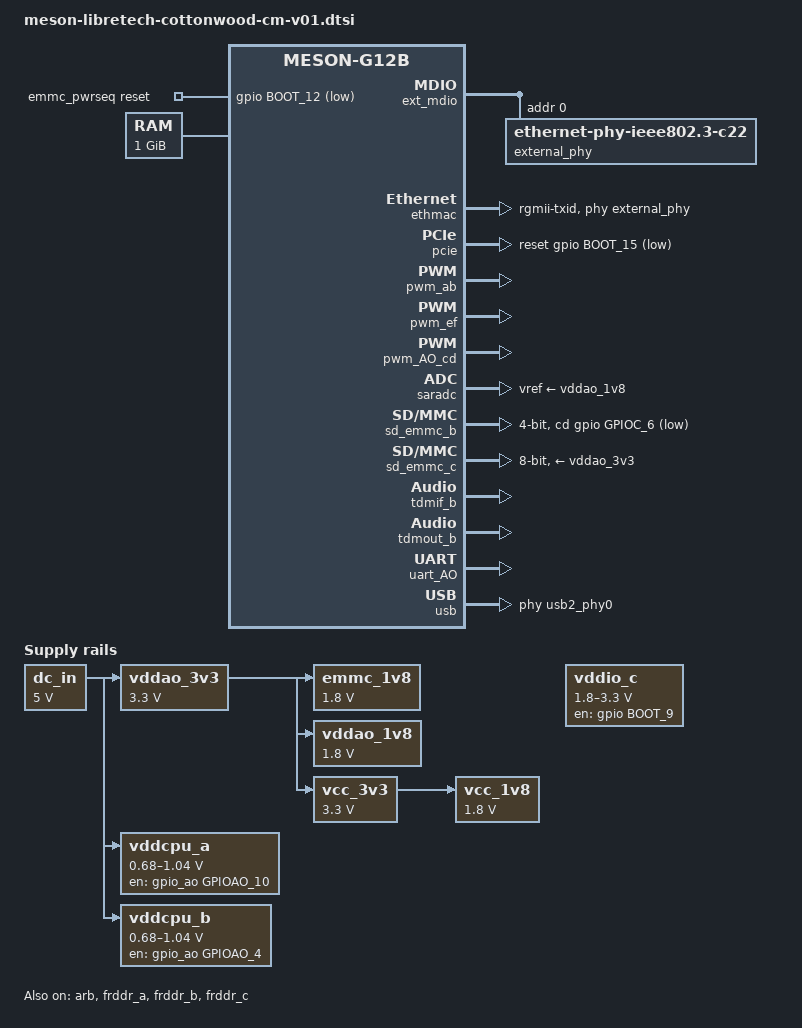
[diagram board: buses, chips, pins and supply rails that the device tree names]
// SPDX-License-Identifier: (GPL-2.0+ OR MIT)
/*
 * Copyright (c) 2023 Neil Armstrong <neil.armstrong@linaro.org>
 */

#include "meson-g12b-a311d.dtsi"
#include <dt-bindings/gpio/meson-g12a-gpio.h>

/ {
	aliases {
		serial0 = &uart_AO;
		rtc1 = &vrtc;
	};

	chosen {
		stdout-path = "serial0:115200n8";
	};

	emmc_pwrseq: emmc-pwrseq {
		compatible = "mmc-pwrseq-emmc";
		reset-gpios = <&gpio BOOT_12 GPIO_ACTIVE_LOW>;
	};

	memory@0 {
		device_type = "memory";
		reg = <0x0 0x0 0x0 0x40000000>;
	};

	emmc_1v8: regulator-emmc-1v8 {
		compatible = "regulator-fixed";
		regulator-name = "VDDIO_BOOT";
		regulator-min-microvolt = <1800000>;
		regulator-max-microvolt = <1800000>;
		vin-supply = <&vddao_3v3>;
		regulator-always-on;
	};

	dc_in: regulator-dc-in {
		compatible = "regulator-fixed";
		regulator-name = "DC_IN";
		regulator-min-microvolt = <5000000>;
		regulator-max-microvolt = <5000000>;
		regulator-always-on;
	};

	vddio_c: regulator-vddio-c {
		compatible = "regulator-gpio";
		regulator-name = "VDDIO_C";
		regulator-min-microvolt = <1800000>;
		regulator-max-microvolt = <3300000>;

		enable-gpios = <&gpio BOOT_9 GPIO_ACTIVE_HIGH>;
		enable-active-high;

		gpios = <&gpio BOOT_11 GPIO_ACTIVE_LOW>;
		gpios-states = <1>;

		states = <1800000 0>,
			 <3300000 1>;
	};

	vddao_1v8: regulator-vddao-1v8 {
		compatible = "regulator-fixed";
		regulator-name = "VDDAO_1V8";
		regulator-min-microvolt = <1800000>;
		regulator-max-microvolt = <1800000>;
		vin-supply = <&vddao_3v3>;
		regulator-always-on;
	};

	vddao_3v3: regulator-vddao-3v3 {
		compatible = "regulator-fixed";
		regulator-name = "VDDAO_3V3";
		regulator-min-microvolt = <3300000>;
		regulator-max-microvolt = <3300000>;
		vin-supply = <&dc_in>;
		regulator-always-on;
	};

	vcc_3v3: regulator-vcc-3v3 {
		compatible = "regulator-fixed";
		regulator-name = "VCC_3V3";
		regulator-min-microvolt = <3300000>;
		regulator-max-microvolt = <3300000>;
		vin-supply = <&vddao_3v3>;

		/* FIXME: controlled by TEST_N */
	};

	vcc_1v8: regulator-vcc-1v9 {
		compatible = "regulator-fixed";
		regulator-name = "VCC_1V8";
		regulator-min-microvolt = <1800000>;
		regulator-max-microvolt = <1800000>;
		vin-supply = <&vcc_3v3>;
	};

	vddcpu_a: regulator-vddcpu-a {
		/*
		 * MP8756GD DC/DC Regulator.
		 */
		compatible = "pwm-regulator";

		regulator-name = "VDDCPU_A";
		regulator-min-microvolt = <680000>;
		regulator-max-microvolt = <1040000>;

		enable-gpios = <&gpio_ao GPIOAO_10 GPIO_ACTIVE_HIGH>;
		enable-active-high;

		pwm-supply = <&dc_in>;

		pwms = <&pwm_ab 0 1250 0>;
		pwm-dutycycle-range = <100 0>;

		regulator-boot-on;
		regulator-always-on;
	};

	vddcpu_b: regulator-vddcpu-b {
		/*
		 * SY8120B1ABC DC/DC Regulator.
		 */
		compatible = "pwm-regulator";

		regulator-name = "VDDCPU_B";
		regulator-min-microvolt = <680000>;
		regulator-max-microvolt = <1040000>;
		
		enable-gpios = <&gpio_ao GPIOAO_4 GPIO_ACTIVE_HIGH>;
		enable-active-high;

		pwm-supply = <&dc_in>;

		pwms = <&pwm_AO_cd 1 1250 0>;
		pwm-dutycycle-range = <100 0>;

		regulator-boot-on;
		regulator-always-on;
	};

};

&arb {
	status = "okay";
};

&clkc_audio {
	status = "okay";
};

&cec_AO {
	pinctrl-0 = <&cec_ao_a_h_pins>;
	pinctrl-names = "default";
	hdmi-phandle = <&hdmi_tx>;
};

&cecb_AO {
	pinctrl-0 = <&cec_ao_b_h_pins>;
	pinctrl-names = "default";
	hdmi-phandle = <&hdmi_tx>;
};

&cpu0 {
	cpu-supply = <&vddcpu_b>;
	operating-points-v2 = <&cpu_opp_table_0>;
	clocks = <&clkc CLKID_CPU_CLK>;
	clock-latency = <50000>;
};

&cpu1 {
	cpu-supply = <&vddcpu_b>;
	operating-points-v2 = <&cpu_opp_table_0>;
	clocks = <&clkc CLKID_CPU_CLK>;
	clock-latency = <50000>;
};

&cpu100 {
	cpu-supply = <&vddcpu_a>;
	operating-points-v2 = <&cpub_opp_table_1>;
	clocks = <&clkc CLKID_CPUB_CLK>;
	clock-latency = <50000>;
};

&cpu101 {
	cpu-supply = <&vddcpu_a>;
	operating-points-v2 = <&cpub_opp_table_1>;
	clocks = <&clkc CLKID_CPUB_CLK>;
	clock-latency = <50000>;
};

&cpu102 {
	cpu-supply = <&vddcpu_a>;
	operating-points-v2 = <&cpub_opp_table_1>;
	clocks = <&clkc CLKID_CPUB_CLK>;
	clock-latency = <50000>;
};

&cpu103 {
	cpu-supply = <&vddcpu_a>;
	operating-points-v2 = <&cpub_opp_table_1>;
	clocks = <&clkc CLKID_CPUB_CLK>;
	clock-latency = <50000>;
};

&ext_mdio {
	external_phy: ethernet-phy@0 {
		/* Realtek RTL8211F (0x001cc916) */
		compatible = "ethernet-phy-ieee802.3-c22";
		reg = <0>;
		max-speed = <1000>;

		interrupt-parent = <&gpio_intc>;
		/* MAC_INTR on GPIOZ_14 */
		interrupts = <IRQID_GPIOZ_14 IRQ_TYPE_LEVEL_LOW>;
		eee-broken-1000t;
	};
};

/* Ethernet to be enabled in baseboard DT */
&ethmac {
	pinctrl-0 = <&eth_pins>, <&eth_rgmii_pins>;
	pinctrl-names = "default";
	phy-mode = "rgmii-txid";
	phy-handle = <&external_phy>;
};

&frddr_a {
	status = "okay";
};

&frddr_b {
	status = "okay";
};

&frddr_c {
	status = "okay";
};

/* HDMI to be enabled in baseboard DT */
&hdmi_tx {
	pinctrl-0 = <&hdmitx_hpd_pins>, <&hdmitx_ddc_pins>;
	pinctrl-names = "default";
	hdmi-supply = <&dc_in>;
};

/* "Camera" I2C bus */
&i2c1 {
	pinctrl-0 = <&i2c1_sda_h6_pins>, <&i2c1_sck_h7_pins>;
	pinctrl-names = "default";
};

/* Main I2C bus */
&i2c2 {
	pinctrl-0 = <&i2c2_sda_x_pins>, <&i2c2_sck_x_pins>;
	pinctrl-names = "default";
};

/* "ID" I2C bus */
&i2c3 {
	pinctrl-0 = <&i2c3_sda_a_pins>, <&i2c3_sck_a_pins>;
	pinctrl-names = "default";
};

&pcie {
	reset-gpios = <&gpio BOOT_15 GPIO_ACTIVE_LOW>;
};

&pwm_ab {
	pinctrl-0 = <&pwm_a_e_pins>;
	pinctrl-names = "default";
	clocks = <&xtal>;
	clock-names = "clkin0";

	status = "okay";
};

&pwm_ef {
	pinctrl-0 = <&pwm_e_pins>;
	pinctrl-names = "default";

	status = "okay";
};

&pwm_AO_cd {
	pinctrl-0 = <&pwm_ao_d_e_pins>;
	pinctrl-names = "default";
	clocks = <&xtal>;
	clock-names = "clkin1";

	status = "okay";
};

&saradc {
	vref-supply = <&vddao_1v8>;

	status = "okay";
};

/* SD card to be enabled in baseboard DT */
&sd_emmc_b {
	pinctrl-0 = <&sdcard_c_pins>;
	pinctrl-1 = <&sdcard_clk_gate_c_pins>;
	pinctrl-names = "default", "clk-gate";

	bus-width = <4>;
	cap-sd-highspeed;
	sd-uhs-sdr50;
	sd-uhs-sdr104;
	max-frequency = <166666665>;
	disable-wp;

	cd-gpios = <&gpio GPIOC_6 GPIO_ACTIVE_LOW>;
	vqmmc-supply = <&vddio_c>;
};

/* on-module eMMC */
&sd_emmc_c {
	pinctrl-0 = <&emmc_ctrl_pins>, <&emmc_data_8b_pins>, <&emmc_ds_pins>;
	pinctrl-1 = <&emmc_clk_gate_pins>;
	pinctrl-names = "default", "clk-gate";

	bus-width = <8>;
	cap-mmc-highspeed;
	mmc-ddr-1_8v;
	mmc-hs200-1_8v;
	mmc-hs400-1_8v;
	max-frequency = <200000000>;
	disable-wp;

	mmc-pwrseq = <&emmc_pwrseq>;
	vmmc-supply = <&vddao_3v3>;
	vqmmc-supply = <&vddao_1v8>;

	status = "okay";
};

&tdmif_b {
	status = "okay";
};

&tdmout_b {
	status = "okay";
};

&uart_AO {
	pinctrl-0 = <&uart_ao_a_pins>;
	pinctrl-names = "default";

	status = "okay";
};

&usb {
	phys = <&usb2_phy0>, <&usb2_phy1>;
	phy-names = "usb2-phy0", "usb2-phy1";
};
